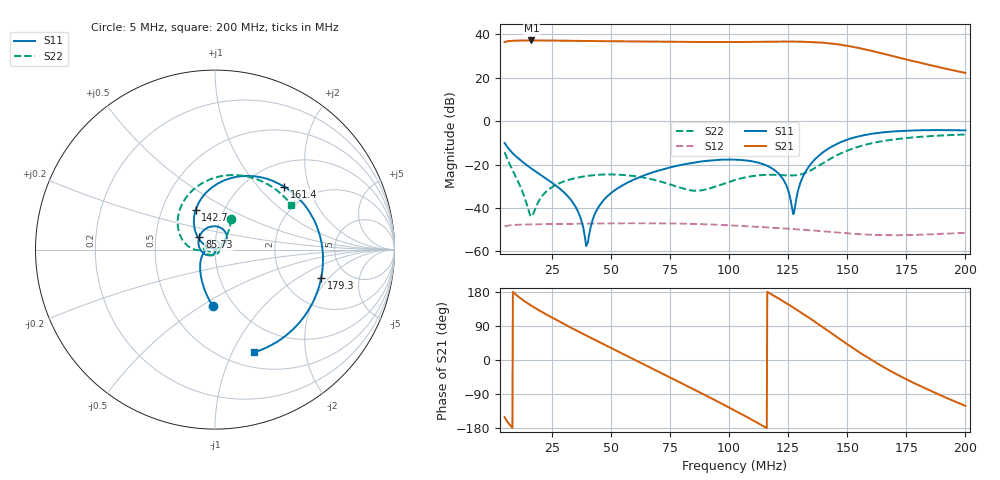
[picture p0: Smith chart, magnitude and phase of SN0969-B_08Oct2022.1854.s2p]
# Hz S DB R 50
! CMT, M5045, 22160017, 22.3.3/2
! Date: 10/8/2022 18:54:50
! Data: Format (Calibration Info)
! Freq	S11:dB/Ang(F2)	S21:dB/Ang(F2)	S12:dB/Ang(F2)	S22:dB/Ang(F2)
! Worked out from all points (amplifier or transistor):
!   1001 points, 5 MHz to 200 MHz, reference 50 ohm
!   highest |S21| = 37.1 dB at 16.31 MHz (marker M1)
!   |S21| within 3 dB of that: start of sweep to 152.7 MHz
!   unconditionally stable (mu >= 1): start of sweep to end of sweep
!   at 37.37 MHz: K = 1.79, MAG = 36.9 dB, |S12| = -47.2 dB
!   at 102.5 MHz: K = 2.02, MAG = 36.5 dB, |S12| = -48.1 dB
!   at 200 MHz: K = 7.21, MAG = 25.3 dB, |S12| = -51.5 dB
!   S11 on the Smith chart (normalised r, x): 5 MHz: 0.80, -0.56; 85.73 MHz: 0.83, +0.12; 142.7 MHz: 0.74, +0.34; 161.4 MHz: 1.45, +1.40; 179.3 MHz: 3.26, -1.65; 200 MHz: 0.67, -1.22
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5000000  -10.07 -92.3  36.41 -150.8  -48.52 -147.9  -14.34 62.1
9290000  -15.71 -118.8  37.04 175.4  -47.76 178.1  -24.69 40.3
1.631e7  -21.79 -153.6  37.14 143.4  -47.54 145.9  -43.87 -58.6
2.6645e7  -29.63 162.1  37.07 106.5  -47.38 110.0  -29.39 -161.5
3.7565e7  -46.12 106.3  36.92 70.9  -47.23 75.8  -25.66 167.1
4.634e7  -37.16 -84.6  36.81 43.3  -47.12 49.5  -24.61 141.1
5.4335e7  -29.94 -114.8  36.70 18.3  -47.05 26.1  -24.72 115.9
6.2135e7  -25.80 -142.2  36.61 -5.8  -47.02 3.4  -25.67 89.5
7.013e7  -22.79 -168.9  36.53 -30.6  -47.05 -19.8  -27.55 58.4
8.573e7  -18.99 141.0  36.44 -79.5  -47.36 -65.4  -32.08 -38.1
9.392e7  -17.95 115.1  36.42 -105.7  -47.68 -89.9  -30.24 -98.1
1.025e8  -17.74 88.1  36.43 -133.7  -48.12 -116.0  -27.11 -138.9
1.1147e8  -18.90 59.5  36.50 -163.9  -48.66 -144.6  -25.09 -170.2
1.19465e8  -22.76 34.5  36.58 167.7  -49.18 -172.1  -24.74 171.4
1.26875e8  -41.55 62.0  36.61 139.6  -49.69 159.9  -25.03 169.0
1.35065e8  -19.10 145.8  36.42 106.3  -50.32 125.4  -22.39 -178.6
1.4267e8  -12.22 116.2  35.81 73.5  -50.99 90.1  -17.45 176.3
1.5164e8  -7.96 79.6  34.36 34.8  -51.79 47.4  -12.91 153.2
1.6139e8  -5.66 42.4  32.06 -4.1  -52.40 4.6  -9.94 123.8
1.6763e8  -4.91 20.9  30.39 -26.6  -52.55 -19.4  -8.76 106.1
1.7933e8  -4.26 -14.9  27.23 -64.1  -52.36 -57.3  -7.37 75.9
2e8  -4.25 -69.0  22.17 -120.8  -51.47 -110.3  -6.16 30.6
